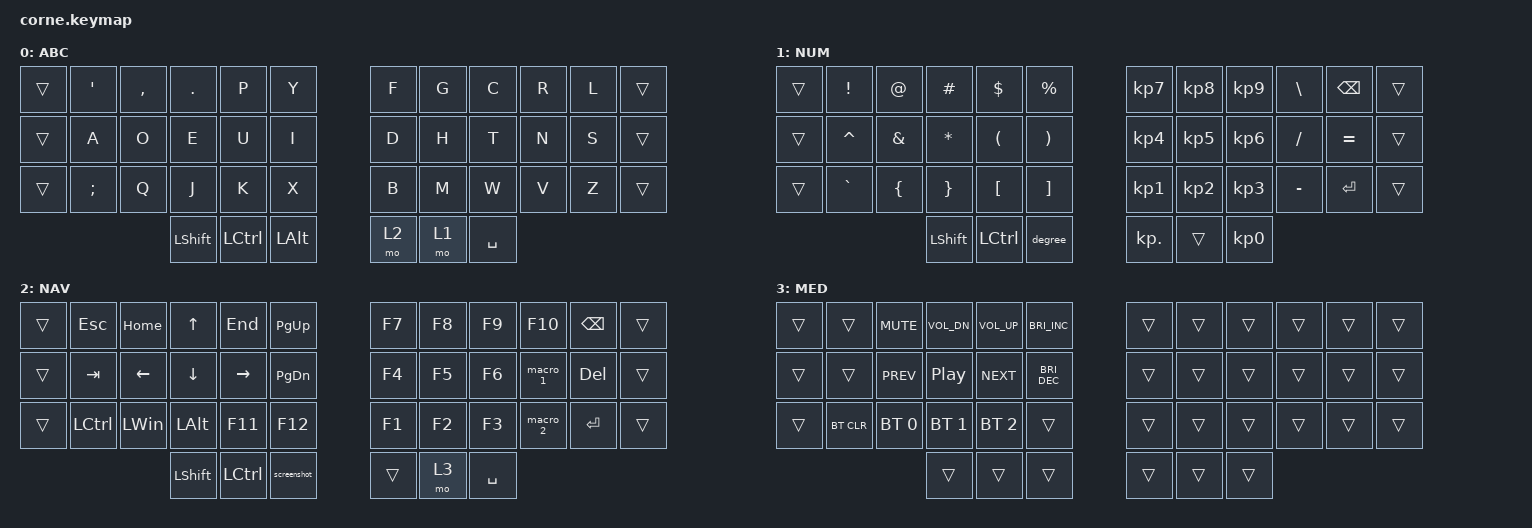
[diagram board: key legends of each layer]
/*
 * Copyright (c) 2020 The ZMK Contributors
 *
 * SPDX-License-Identifier: MIT
 */

#include <behaviors.dtsi>
#include <dt-bindings/zmk/keys.h>
#include <dt-bindings/zmk/bt.h>

/ {
    macros {
        screenshot: screenshot {
            compatible = "zmk,behavior-macro";
            #binding-cells = <0>;
            bindings =
                <&macro_press>,
                <&kp LEFT_WIN &kp LSHIFT>,
                <&macro_tap>,
                <&kp S>,
                <&macro_release>,
                <&kp LEFT_WIN &kp LSHIFT>;

            label = "SCREENSHOT";
        };

        degree: degree {
            compatible = "zmk,behavior-macro";
            #binding-cells = <0>;
            bindings =
                <&macro_press>,
                <&kp LEFT_ALT>,
                <&macro_tap>,
                <&kp KP_NUMBER_0 &kp KP_NUMBER_1 &kp KP_NUMBER_7 &kp KP_NUMBER_6>,
                <&macro_release>,
                <&kp LEFT_ALT>;

            label = "DEGREE";
        };

        macro_1: macro_1 {
            compatible = "zmk,behavior-macro";
            #binding-cells = <0>;
            bindings = <&kp N6 &kp N0 &kp N1 &kp N7 &kp N1 &kp N5 &kp N7 &kp N5>;
            label = "MACRO_1";
        };

        macro_2: macro_2 {
            compatible = "zmk,behavior-macro";
            #binding-cells = <0>;
            bindings = <&kp LS(W) &kp I &kp N &kp T &kp E &kp R &kp N2 &kp N0 &kp N2 &kp N6 &kp ENTER>;
            label = "MACRO_2";
        };
    };

    keymap {
        compatible = "zmk,keymap";

        ABC {
                display-name = "ABC";

// -----------------------------------------------------------------------------------------
// |     |  '  |  ,  |  .   |  P   |  Y  |   |  F  |  G   |  C  |  R  |  L  |     |
// |     |  A  |  O  |  E   |  U   |  I  |   |  D  |  H   |  T  |  N  |  S  |     |
// |     |  ;  |  Q  |  J   |  K   |  X  |   |  B  |  M   |  W  |  V  |  Z  |     |
 //                   | SHFT | CTRL | ALT |   | NAV | NUM  | SPC |


            bindings = <
&trans  &kp SQT   &kp COMMA  &kp DOT     &kp P      &kp Y       &kp F  &kp G  &kp C      &kp R  &kp L  &trans
&trans  &kp A     &kp O      &kp E       &kp U      &kp I       &kp D  &kp H  &kp T      &kp N  &kp S  &trans
&trans  &kp SEMI  &kp Q      &kp J       &kp K      &kp X       &kp B  &kp M  &kp W      &kp V  &kp Z  &trans
                             &kp LSHIFT  &kp LCTRL  &kp LALT    &mo 2  &mo 1  &kp SPACE
            >;
        };

        NUM {
            display-name = "NUM";

// -----------------------------------------------------------------------------------------
// |    |  !  |  @  |  #   |  $   |  %  |   |  7  |  8  |  9  |  \  | BKSP |    |
// |    |  ^  |  &  |  *   |  (   |  )  |   |  4  |  5  |  6  |  /  |  =   |    |
// |    |  `  |  {  |  }   |  [   |  ]  |   |  1  |  2  |  3  |  -  | ENT  |    |
//                  | SHFT | CTRL | DEG |   |  .  |     |  0  |

            bindings = <
&trans  &kp EXCLAMATION  &kp AT_SIGN     &kp POUND        &kp DOLLAR            &kp PERCENT              &kp KP_NUMBER_7  &kp KP_NUMBER_8  &kp KP_NUMBER_9  &kp BSLH   &kp BACKSPACE  &trans
&trans  &kp CARET        &kp AMPERSAND   &kp ASTERISK     &kp LEFT_PARENTHESIS  &kp RIGHT_PARENTHESIS    &kp KP_NUMBER_4  &kp KP_NUMBER_5  &kp KP_NUMBER_6  &kp FSLH   &kp EQUAL      &trans
&trans  &kp GRAVE        &kp LEFT_BRACE  &kp RIGHT_BRACE  &kp LEFT_BRACKET      &kp RIGHT_BRACKET        &kp KP_NUMBER_1  &kp KP_NUMBER_2  &kp KP_NUMBER_3  &kp MINUS  &kp ENTER      &trans
                                         &kp LSHIFT       &kp LCTRL             &degree                  &kp KP_DOT       &trans           &kp KP_NUMBER_0
            >;
        };

        NAV {
            display-name = "NAV";

// -----------------------------------------------------------------------------------------
// |    | ESC  | HOME |  UP  |  END  | PGUP |   | F7  | F8  | F9  | F10 | BKSP |    |
// |    | TAB  | LEFT | DOWN |  RGHT | PGDN |   | F4  | F5  | F6  | M1  | DEL  |    |
// |    | CTRL | WIN  | ALT  |  F11  | F12  |   | F1  | F2  | F3  | M2  | ENT  |    |
//                    | SHFT |  CTRL | PRNT |   |     | MED | SPC |

            bindings = <
&trans  &kp ESC    &kp HOME      &kp UP      &kp END    &kp PG_UP      &kp F7  &kp F8  &kp F9     &kp F10   &kp BACKSPACE  &trans
&trans  &kp TAB    &kp LEFT      &kp DOWN    &kp RIGHT  &kp PG_DN      &kp F4  &kp F5  &kp F6     &macro_1  &kp DEL        &trans
&trans  &kp LCTRL  &kp LEFT_WIN  &kp LALT    &kp F11    &kp F12        &kp F1  &kp F2  &kp F3     &macro_2  &kp ENTER      &trans
                                 &kp LSHIFT  &kp LCTRL  &screenshot    &trans  &mo 3   &kp SPACE
            >;
        };

        MED {
            display-name = "MED";

// -----------------------------------------------------------------------------------------
// |    |    | MUTE | VOLDN | VOLUP | BRTINC |   |    |    |    |    |    |    |    
// |    |    | PREV | PLAY  | NEXT  | BRTDEC |   |    |    |    |    |    |    |
// |    |    | BT1  | BT2   | BT3   |        |   |    |    |    |    |    |    |
//                     |       |       |        |   |    |    |    |

            bindings = <
&trans  &trans      &kp C_MUTE   &kp C_VOL_DN      &kp C_VOL_UP  &kp C_BRIGHTNESS_INC    &trans  &trans  &trans  &trans  &trans  &trans
&trans  &trans      &kp C_PREV   &kp C_PLAY_PAUSE  &kp C_NEXT    &kp C_BRIGHTNESS_DEC    &trans  &trans  &trans  &trans  &trans  &trans
&trans  &bt BT_CLR  &bt BT_SEL 0 &bt BT_SEL 1      &bt BT_SEL 2  &trans                  &trans  &trans  &trans  &trans  &trans  &trans
                                 &trans            &trans        &trans                  &trans  &trans  &trans
            >;  
        };
    };
};
